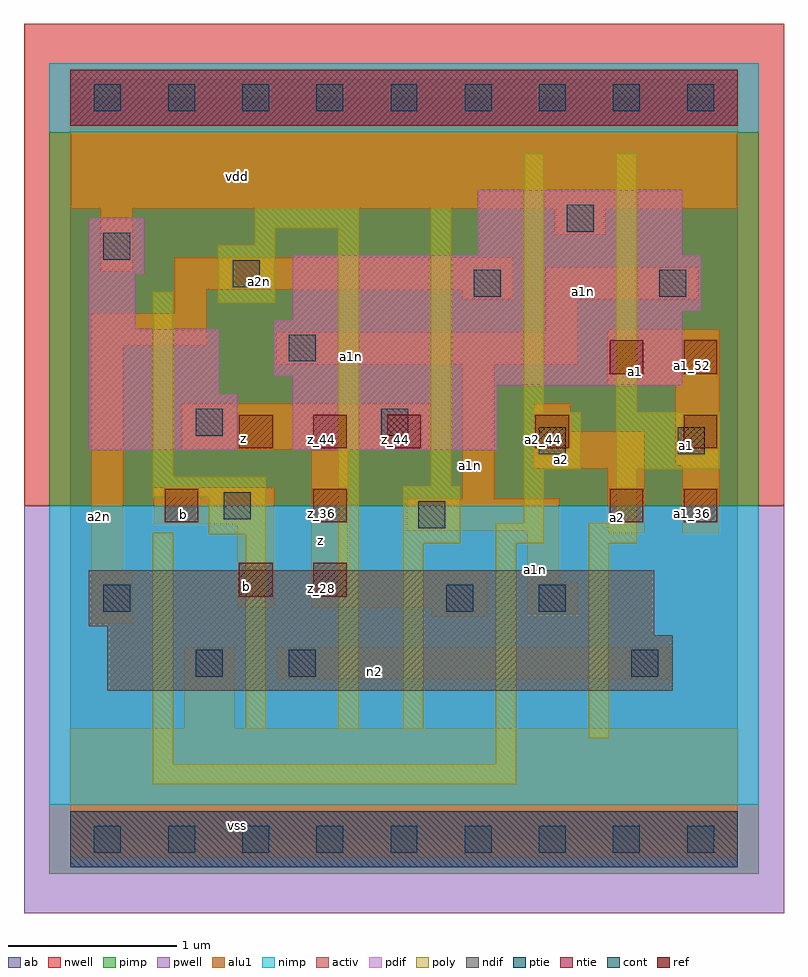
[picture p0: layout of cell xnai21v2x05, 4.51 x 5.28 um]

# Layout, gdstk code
import gdstk
lib = gdstk.Library(unit=1e-6, precision=2.5e-09)
def R(c, l, rs):  # rectangles x0, y0, x1, y1
    for r in rs: c.add(gdstk.rectangle(r[:2], r[2:], *l))
def A(c, l, x, y, w, h, nx, ny, dx, dy):  # array of equal rectangles
    R(c, l, [(x+i*dx, y+j*dy, x+i*dx+w, y+j*dy+h) for i in range(nx) for j in range(ny)])
ndif = (3, 0)
pdif = (4, 0)
ntie = (5, 0)
ptie = (6, 0)
ref = (24, 0)
cont = (25, 0)
pwell = (41, 0)
nwell = (42, 0)
activ = (43, 0)
pimp = (44, 0)
nimp = (45, 0)
poly = (46, 0)
alu1 = (49, 0)
ab = (63, 0)

xnai21v2x05 = lib.new_cell('xnai21v2x05')
R(xnai21v2x05, ndif, [(0.22,0.88,3.575,1.21), (0.22,1.21,3.465,1.265), (0.11,1.265,3.465,1.595)])
R(xnai21v2x05, pdif, [(0.11,2.31,0.99,2.64), (1.32,2.31,2.53,2.695), (0.11,2.64,0.88,3.025), (1.32,2.695,3.63,2.75), (1.21,2.75,3.63,3.08), (0.11,3.025,0.385,3.355), (1.32,3.08,3.63,3.135), (1.32,3.135,3.74,3.465), (0.11,3.355,0.44,3.685), (2.42,3.465,3.63,3.85)])
R(xnai21v2x05, ntie, [(0,4.235,3.96,4.565)])
R(xnai21v2x05, ptie, [(0,-0.165,3.96,0.165)])
A(xnai21v2x05, ref, 3.64, 1.88, 0.2, 0.2, 1, 3, 0, 0.44)
A(xnai21v2x05, ref, 1, 2.32, 0.2, 0.2, 3, 1, 0.44, 0)
R(xnai21v2x05, ref, [(1,1.44,1.2,1.64), (1.44,1.44,1.64,1.64), (0.56,1.88,0.76,2.08), (1.44,1.88,1.64,2.08), (3.2,1.88,3.4,2.08), (2.76,2.32,2.96,2.52), (3.2,2.76,3.4,2.96)])
A(xnai21v2x05, cont, 0.14, -0.08, 0.16, 0.16, 9, 2, 0.44, 4.4)
R(xnai21v2x05, cont, [(0.745,0.965,0.905,1.125), (1.295,0.965,1.455,1.125), (3.33,0.965,3.49,1.125), (0.195,1.35,0.355,1.51), (2.23,1.35,2.39,1.51), (2.78,1.35,2.94,1.51), (2.065,1.845,2.225,2.005), (0.91,1.9,1.07,2.06), (2.78,2.285,2.94,2.445), (3.605,2.285,3.765,2.445), (0.745,2.395,0.905,2.555), (1.845,2.395,2.005,2.555), (1.295,2.835,1.455,2.995), (2.395,3.22,2.555,3.38), (3.495,3.22,3.655,3.38), (0.965,3.275,1.125,3.435), (0.195,3.44,0.355,3.6), (2.945,3.605,3.105,3.765)])
R(xnai21v2x05, pwell, [(-0.275,-0.44,4.235,1.98)])
R(xnai21v2x05, nwell, [(-0.275,1.98,4.235,4.84)])
R(xnai21v2x05, activ, [(0,-0.165,3.96,0.165), (0.22,0.88,3.575,1.21), (0.22,1.21,3.465,1.265), (0.11,1.265,3.465,1.595), (0.11,2.31,0.99,2.64), (1.32,2.31,2.53,2.695), (0.11,2.64,0.88,3.025), (1.32,2.695,3.63,2.75), (1.21,2.75,3.63,3.08), (0.11,3.025,0.385,3.355), (1.32,3.08,3.63,3.135), (1.32,3.135,3.74,3.465), (0.11,3.355,0.44,3.685), (2.42,3.465,3.63,3.85), (0,4.235,3.96,4.565)])
R(xnai21v2x05, pimp, [(-0.125,-0.205,4.085,0.205), (-0.125,1.98,4.085,4.195)])
R(xnai21v2x05, nimp, [(-0.125,0.205,4.085,1.98), (-0.125,4.195,4.085,4.605)])
R(xnai21v2x05, poly, [(0.49,0.325,2.645,0.445), (0.49,0.445,0.61,1.82), (2.525,0.445,2.645,1.755), (3.075,0.6,3.195,1.755), (1.04,0.655,1.16,1.81), (1.59,0.655,1.71,3.625), (1.975,0.655,2.095,1.755), (1.975,1.755,2.315,2.095), (2.525,1.755,2.81,1.875), (3.075,1.755,3.36,1.875), (0.82,1.81,1.16,2.03), (2.69,1.875,2.81,2.195), (3.24,1.875,3.36,2.195), (0.49,2.03,1.16,2.15), (2.14,2.095,2.26,3.745), (0.49,2.15,0.61,3.25), (2.69,2.195,3.03,2.535), (3.24,2.195,3.855,2.535), (2.69,2.535,2.81,4.075), (3.24,2.535,3.36,4.075), (0.875,3.185,1.215,3.525), (1.095,3.525,1.215,3.625), (1.095,3.625,1.71,3.745)])
R(xnai21v2x05, alu1, [(0,-0.11,3.96,0.66), (0.675,0.66,0.975,1.14), (1.225,0.95,3.56,1.14), (0.125,1.28,0.37,1.58), (2.145,1.32,2.475,1.375), (2.71,1.335,3.01,1.525), (0.99,1.375,1.21,1.87), (1.43,1.375,2.475,1.595), (2.71,1.525,2.9,1.83), (0.125,1.58,0.315,2.93), (1.43,1.595,1.65,2.31), (3.19,1.815,3.41,2.2), (3.63,1.815,3.85,2.215), (1.995,1.83,2.9,2.02), (0.495,1.87,1.21,2.09), (2.325,2.02,2.515,2.82), (2.75,2.2,3.41,2.42), (3.59,2.215,3.85,2.695), (0.66,2.31,2.145,2.585), (2.75,2.42,2.97,2.585), (3.19,2.695,3.85,3.025), (1.225,2.82,3.01,3.01), (0.125,2.93,0.81,3.12), (2.82,3.01,3.01,3.205), (0.62,3.12,0.81,3.26), (2.325,3.205,2.625,3.26), (2.82,3.205,3.725,3.395), (0.62,3.26,2.625,3.45), (0.18,3.37,0.37,3.74), (2.875,3.59,3.175,3.74), (0,3.74,3.96,4.51)])
R(xnai21v2x05, ab, [(0,0,3.96,4.4)])
xnai21v2x05.add(gdstk.Label('vss', (0.99,0.0825), layer=49, texttype=0))
xnai21v2x05.add(gdstk.Label('n2', (1.8075,0.9975), layer=49, texttype=0))
xnai21v2x05.add(gdstk.Label('a2', (3.245,1.91), layer=49, texttype=0))
xnai21v2x05.add(gdstk.Label('a1n', (2.7575,1.6), layer=49, texttype=0))
xnai21v2x05.add(gdstk.Label('a1', (3.655,2.335), layer=49, texttype=0))
xnai21v2x05.add(gdstk.Label('a2', (2.915,2.255), layer=49, texttype=0))
xnai21v2x05.add(gdstk.Label('a1', (3.355,2.7775), layer=49, texttype=0))
xnai21v2x05.add(gdstk.Label('a1n', (2.3725,2.22), layer=49, texttype=0))
xnai21v2x05.add(gdstk.Label('z', (1.485,1.7725), layer=49, texttype=0))
xnai21v2x05.add(gdstk.Label('b', (1.045,1.4975), layer=49, texttype=0))
xnai21v2x05.add(gdstk.Label('b', (0.6725,1.925), layer=49, texttype=0))
xnai21v2x05.add(gdstk.Label('z', (1.03,2.3775), layer=49, texttype=0))
xnai21v2x05.add(gdstk.Label('a1n', (1.67,2.8675), layer=49, texttype=0))
xnai21v2x05.add(gdstk.Label('a2n', (0.1725,1.9175), layer=49, texttype=0))
xnai21v2x05.add(gdstk.Label('a1n', (3.045,3.2525), layer=49, texttype=0))
xnai21v2x05.add(gdstk.Label('a2n', (1.12,3.3075), layer=49, texttype=0))
xnai21v2x05.add(gdstk.Label('vdd', (0.99,3.9325), layer=49, texttype=0))
xnai21v2x05.add(gdstk.Label('z_36', (1.49,1.93), layer=24, texttype=0))
xnai21v2x05.add(gdstk.Label('b_28', (1.05,1.49), layer=24, texttype=0))
xnai21v2x05.add(gdstk.Label('a1_52', (3.69,2.81), layer=24, texttype=0))
xnai21v2x05.add(gdstk.Label('b_36', (0.61,1.93), layer=24, texttype=0))
xnai21v2x05.add(gdstk.Label('a1_44', (3.69,2.37), layer=24, texttype=0))
xnai21v2x05.add(gdstk.Label('a2_44', (2.81,2.37), layer=24, texttype=0))
xnai21v2x05.add(gdstk.Label('a1_36', (3.69,1.93), layer=24, texttype=0))
xnai21v2x05.add(gdstk.Label('z_44', (1.49,2.37), layer=24, texttype=0))
xnai21v2x05.add(gdstk.Label('z_44', (1.93,2.37), layer=24, texttype=0))
xnai21v2x05.add(gdstk.Label('z_44', (1.05,2.37), layer=24, texttype=0))
xnai21v2x05.add(gdstk.Label('a2_36', (3.25,1.93), layer=24, texttype=0))
xnai21v2x05.add(gdstk.Label('a1_52', (3.25,2.81), layer=24, texttype=0))
xnai21v2x05.add(gdstk.Label('z_28', (1.49,1.49), layer=24, texttype=0))

lib.write_gds('xnai21v2x05.gds')
